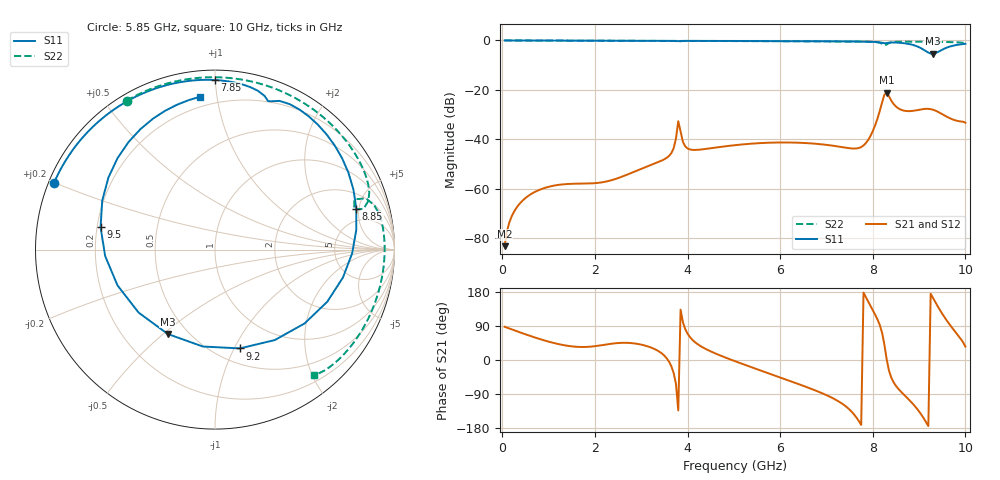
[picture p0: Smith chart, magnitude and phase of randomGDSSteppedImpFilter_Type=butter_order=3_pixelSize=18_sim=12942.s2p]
! freq	dB(S11)	phase(S11)	dB(S12)	phase(S12)
!  dB(S21)	phase(S21)	dB(S22)	phase(S22)
!S-par simulation data
#  GHz  S  DB  R 50
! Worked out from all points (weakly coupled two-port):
!   200 points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, 50 MHz to 10 GHz, reference 50 ohm
!   highest |S21| = -21.20 dB at 8.3 GHz (marker M1); lowest = -83.4 dB at 50 MHz (marker M2)
!   lowest |S11| = -5.4 dB at 9.3 GHz (marker M3), VSWR 3.34, Z = 19.5 - j25.9 ohm
!   |S11| at or under -10 dB: nowhere
!   |S22| runs from -1.9 to 0.0 dB; largest |S21 - S12| = 0
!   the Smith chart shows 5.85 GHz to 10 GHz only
!   S11 on the Smith chart (normalised r, x): 5.85 GHz: 0.02, +0.20; 7.85 GHz: 0.06, +1.00; 8.85 GHz: 3.37, +4.69; 9.2 GHz: 0.65, -1.05; 9.5 GHz: 0.21, +0.09; 10 GHz: 0.14, +0.90
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0.05  -0.00 -2.3  -83.37 87.7  -83.37 87.7  -0.00 -2.3
0.25  -0.02 -11.3  -69.51 78.7  -69.51 78.7  -0.02 -11.5
0.55  -0.03 -24.7  -63.14 65.7  -63.14 65.7  -0.03 -25.1
1.75  -0.09 -74.8  -58.01 34.3  -58.01 34.3  -0.09 -77.6
2.55  -0.12 -104.1  -55.44 45.2  -55.44 45.2  -0.13 -110.1
3.4  -0.14 -131.9  -49.04 21.3  -49.04 21.3  -0.17 -143.3
3.7  -0.16 -141.2  -43.70 -34.1  -43.70 -34.1  -0.21 -155.2
3.8  -0.30 -144.3  -32.73 -133.1  -32.73 -133.1  -0.58 -159.1
4  -0.17 -149.8  -43.77 69.7  -43.77 69.7  -0.20 -165.6
5.05  -0.21 -179.9  -42.38 -4.3  -42.38 -4.3  -0.26 153.3
5.85  -0.26 157.5  -41.39 -39.5  -41.39 -39.5  -0.31 120.7
6.7  -0.32 132.1  -41.76 -77.5  -41.76 -77.5  -0.36 84.2
7.85  -0.49 90.1  -41.60 166.3  -41.60 166.3  -0.50 32.7
8.3  -1.08 69.3  -21.20 2.0  -21.20 2.0  -1.67 19.8
8.35  -0.89 66.5  -22.64 -28.1  -22.64 -28.1  -1.03 18.8
8.85  -1.73 16.2  -28.57 -113.6  -28.57 -113.6  -0.50 -6.2
9.05  -3.23 -24.9  -27.93 -144.5  -27.93 -144.5  -0.53 -14.4
9.2  -4.92 -75.9  -27.72 -174.2  -27.72 -174.2  -0.55 -20.4
9.3  -5.37 -119.2  -28.07 163.8  -28.07 163.8  -0.57 -24.4
9.5  -3.74 168.9  -29.87 122.0  -29.87 122.0  -0.62 -32.2
9.7  -2.28 128.8  -31.81 87.1  -31.81 87.1  -0.69 -40.0
10  -1.35 95.5  -33.32 35.3  -33.32 35.3  -1.04 -51.8
